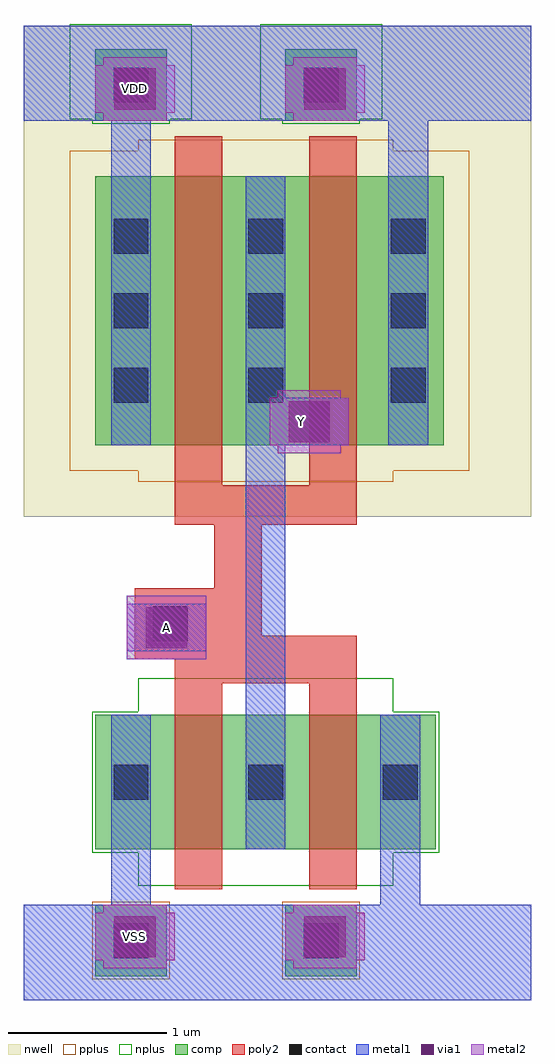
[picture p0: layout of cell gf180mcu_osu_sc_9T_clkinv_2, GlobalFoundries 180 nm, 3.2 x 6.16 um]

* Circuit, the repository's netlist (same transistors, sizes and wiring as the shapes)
* Copyright 2022 Google LLC
*
* Licensed under the Apache License, Version 2.0 (the "License");
* you may not use this file except in compliance with the License.
* You may obtain a copy of the License at
*
*      http://www.apache.org/licenses/LICENSE-2.0
*
* Unless required by applicable law or agreed to in writing, software
* distributed under the License is distributed on an "AS IS" BASIS,
* WITHOUT WARRANTIES OR CONDITIONS OF ANY KIND, either express or implied.
* See the License for the specific language governing permissions and
* limitations under the License.

.option scale=0.05u

.subckt gf180mcu_osu_sc_9T_clkinv_2 A Y
X0 VDD A Y VDD pmos_3p3 w=34 l=6
X1 Y A VSS VSS nmos_3p3 w=17 l=6
X2 Y A VDD VDD pmos_3p3 w=34 l=6
X3 VSS A Y VSS nmos_3p3 w=17 l=6
.ends

** hspice subcircuit dictionary

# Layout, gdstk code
import gdstk
lib = gdstk.Library(unit=1e-6, precision=1e-09)
def R(c, l, rs):  # rectangles x0, y0, x1, y1
    for r in rs: c.add(gdstk.rectangle(r[:2], r[2:], *l))
def A(c, l, x, y, w, h, nx, ny, dx, dy):  # array of equal rectangles
    R(c, l, [(x+i*dx, y+j*dy, x+i*dx+w, y+j*dy+h) for i in range(nx) for j in range(ny)])
nwell = (21, 0)
comp = (22, 0)
poly2 = (30, 0)
pplus = (31, 0)
nplus = (32, 0)
contact = (33, 0)
metal1 = (34, 0)
via1 = (35, 0)
metal2 = (36, 0)

gf180mcu_osu_sc_9t_clkin = lib.new_cell('gf180mcu_osu_sc_9T_clkinv_2')
R(gf180mcu_osu_sc_9t_clkin, nwell, [(0,3.05,3.2,6.15)])
R(gf180mcu_osu_sc_9t_clkin, comp, [(0.45,0.15,0.9,0.6), (1.65,0.15,2.1,0.6), (0.45,0.95,2.6,1.8), (0.45,3.5,2.65,5.2), (0.45,5.55,0.9,6), (1.65,5.55,2.1,6)])
R(gf180mcu_osu_sc_9t_clkin, poly2, [(0.95,0.7,1.25,2), (1.8,0.7,2.1,2), (0.95,2,2.1,2.15), (0.7,2.15,2.1,2.3), (0.7,2.3,1.5,2.6), (1.2,2.6,1.5,3), (0.95,3,2.1,3.25), (0.95,3.25,1.25,5.45), (1.8,3.25,2.1,5.45)])
R(gf180mcu_osu_sc_9t_clkin, pplus, [(0.43,0.13,0.92,0.62), (1.63,0.13,2.12,0.62), (0.72,3.27,2.33,3.34), (0.29,3.34,2.81,5.36), (0.72,5.36,2.33,5.43)])
R(gf180mcu_osu_sc_9t_clkin, nplus, [(0.72,0.72,2.33,0.93), (0.43,0.93,2.62,1.82), (0.72,1.82,2.33,2.03), (0.43,5.53,0.92,5.56), (1.63,5.53,2.12,5.56), (0.29,5.56,1.06,6.16), (1.49,5.56,2.26,6.16)])
A(gf180mcu_osu_sc_9t_clkin, contact, 0.565, 1.265, 0.22, 0.22, 3, 1, 0.85, 0)
A(gf180mcu_osu_sc_9t_clkin, contact, 0.565, 3.77, 0.22, 0.22, 1, 3, 0, 0.47)
A(gf180mcu_osu_sc_9t_clkin, contact, 1.415, 3.77, 0.22, 0.22, 1, 3, 0, 0.47)
A(gf180mcu_osu_sc_9t_clkin, contact, 2.315, 3.77, 0.22, 0.22, 1, 3, 0, 0.47)
R(gf180mcu_osu_sc_9t_clkin, contact, [(0.565,0.265,0.785,0.485), (1.765,0.265,1.985,0.485), (0.815,2.265,1.035,2.485), (0.565,5.665,0.785,5.885), (1.765,5.665,1.985,5.885)])
R(gf180mcu_osu_sc_9t_clkin, metal1, [(0,0,3.2,0.6), (0.55,0.6,0.8,1.8), (2.25,0.6,2.5,1.8), (1.4,0.95,1.65,3.5), (0.65,2.2,1.15,2.5), (0.55,3.5,0.8,5.55), (1.4,3.5,2.05,3.8), (2.3,3.5,2.55,5.55), (1.4,3.8,1.65,5.2), (0,5.55,3.2,6.15)])
R(gf180mcu_osu_sc_9t_clkin, via1, [(0.57,0.27,0.83,0.53), (1.77,0.27,2.03,0.53), (0.77,2.22,1.03,2.48), (1.67,3.52,1.93,3.78), (0.57,5.62,0.83,5.88), (1.77,5.62,2.03,5.88)])
R(gf180mcu_osu_sc_9t_clkin, metal2, [(0.5,0.2,0.9,0.25), (1.7,0.2,2.1,0.25), (0.45,0.25,0.95,0.55), (1.65,0.25,2.15,0.55), (0.5,0.55,0.9,0.6), (1.7,0.55,2.1,0.6), (0.65,2.15,1.15,2.55), (1.6,3.45,2,3.5), (1.55,3.5,2.05,3.8), (1.6,3.8,2,3.85), (0.5,5.55,0.9,5.6), (1.7,5.55,2.1,5.6), (0.45,5.6,0.95,5.9), (1.65,5.6,2.15,5.9), (0.5,5.9,0.9,5.95), (1.7,5.9,2.1,5.95)])
gf180mcu_osu_sc_9t_clkin.add(gdstk.Label('VDD', (0.7,5.75), layer=36, texttype=0))
gf180mcu_osu_sc_9t_clkin.add(gdstk.Label('VSS', (0.7,0.4), layer=36, texttype=0))
gf180mcu_osu_sc_9t_clkin.add(gdstk.Label('A', (0.9,2.35), layer=36, texttype=10))
gf180mcu_osu_sc_9t_clkin.add(gdstk.Label('Y', (1.75,3.65), layer=36, texttype=10))

lib.write_gds('gf180mcu_osu_sc_9T_clkinv_2.gds')
